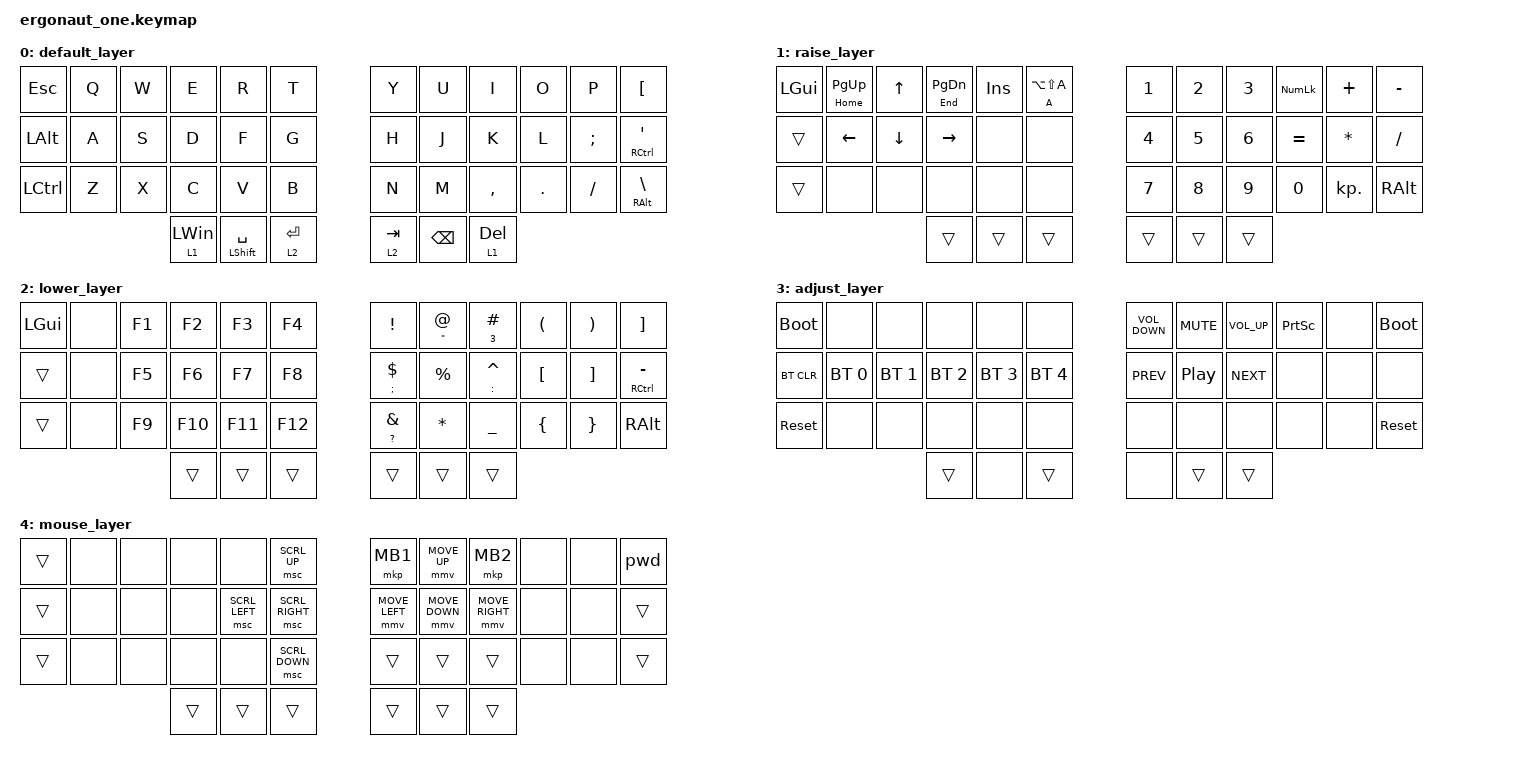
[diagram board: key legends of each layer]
//#include "mouse.dtsi"

#include <dt-bindings/zmk/mouse.h>
#include <behaviors.dtsi>
#include <dt-bindings/zmk/bt.h>
#include <dt-bindings/zmk/keys.h>

#define DEF 0
#define LWR 1
#define RSE 2
#define ADJ 3
#define ZMK_MOUSE_DEFAULT_MOVE_VAL 2000 // 600
#define ZMK_MOUSE_DEFAULT_SCRL_VAL 12   // 10

&lt { quick-tap-ms = <200>; };

&mt {
    quick-tap-ms = <200>;
    tapping-term-ms = <200>;
};

&mmv {
    acceleration-exponent = <1>;  // 1
    time-to-max-speed-ms = <750>; // 300
    delay-ms = <0>;
    trigger-period-ms = <8>;      // 16
};

&msc {
    acceleration-exponent = <1>;  // 0
    time-to-max-speed-ms = <40>;  // 300
    delay-ms = <0>;
    trigger-period-ms = <8>;      // 16
};

/ {
    conditional_layers {
        compatible = "zmk,conditional-layers";

        tri-layer {
            if-layers = <2 1>;
            then-layer = <3>;
        };
    };

    macros {
        pwd: pwd {
            compatible = "zmk,behavior-macro";
            #binding-cells = <0>;
            bindings = <&kp T &kp R &kp U &kp S &kp T &kp M &kp E &kp I &kp A &kp M &kp A &kp A &kp D &kp M &kp I &kp N &kp N4 &kp N2 &kp DOT>;
            label = "PWD";
        };
    };

    combos {
        compatible = "zmk,combos";

        mouse_combo {
            bindings = <&mo 4>;
            key-positions = <3 2 1>;
            timeout-ms = <501>;
        };
    };

    keymap {
        compatible = "zmk,keymap";

        default_layer {
            bindings = <
&kp ESCAPE  &kp Q  &kp W  &kp E           &kp R            &kp T      &kp Y      &kp U          &kp I      &kp O    &kp P     &kp LBKT
&kp LALT    &kp A  &kp S  &kp D           &kp F            &kp G      &kp H      &kp J          &kp K      &kp L    &kp SEMI  &mt RCTRL SQT
&kp LCTRL   &kp Z  &kp X  &kp C           &kp V            &kp B      &kp N      &kp M          &kp COMMA  &kp DOT  &kp FSLH  &mt RALT BSLH
                          &lt 1 LEFT_WIN  &mt LSHFT SPACE  &lt 2 RET  &lt 2 TAB  &kp BACKSPACE  &lt 1 DEL
            >;
        };

        raise_layer {
            bindings = <
&kp LGUI  &mt HOME PAGE_UP  &kp UP_ARROW    &mt END PAGE_DOWN  &kp INS  &mt A LA(LS(A))  &kp NUMBER_1  &kp NUMBER_2  &kp NUMBER_3  &kp KP_NUMLOCK  &kp PLUS      &kp MINUS
&trans    &kp LEFT          &kp DOWN_ARROW  &kp RIGHT          &none    &none            &kp NUMBER_4  &kp NUMBER_5  &kp NUMBER_6  &kp EQUAL       &kp ASTERISK  &kp SLASH
&trans    &none             &none           &none              &none    &none            &kp N7        &kp N8        &kp N9        &kp N0          &kp KP_DOT    &kp RALT
                                            &trans             &trans   &trans           &trans        &trans        &trans
            >;
        };

        lower_layer {
            bindings = <
&kp LGUI  &none  &kp F1  &kp F2   &kp F3   &kp F4   &kp EXCL           &mt DOUBLE_QUOTES AT  &mt NUMBER_3 HASH  &kp LEFT_PARENTHESIS  &kp RIGHT_PARENTHESIS  &kp RIGHT_BRACKET
&trans    &none  &kp F5  &kp F6   &kp F7   &kp F8   &mt SEMI DOLLAR    &kp PERCENT           &mt COLON CARET    &kp LEFT_BRACKET      &kp RIGHT_BRACKET      &mt RCTRL MINUS
&trans    &none  &kp F9  &kp F10  &kp F11  &kp F12  &mt QUESTION AMPS  &kp ASTRK             &kp UNDERSCORE     &kp LEFT_BRACE        &kp RIGHT_BRACE        &kp RALT
                         &trans   &trans   &trans   &trans             &trans                &trans
            >;
        };

        adjust_layer {
            bindings = <
&bootloader  &none         &none         &none         &none         &none         &kp C_VOLUME_DOWN  &kp K_MUTE        &kp C_VOLUME_UP  &kp PRINTSCREEN  &none  &bootloader
&bt BT_CLR   &bt BT_SEL 0  &bt BT_SEL 1  &bt BT_SEL 2  &bt BT_SEL 3  &bt BT_SEL 4  &kp C_PREV         &kp C_PLAY_PAUSE  &kp C_NEXT       &none            &none  &none
&sys_reset   &none         &none         &none         &none         &none         &none              &none             &none            &none            &none  &sys_reset
                                         &trans        &none         &trans        &none              &trans            &trans
            >;
        };

        mouse_layer {
            bindings = <
&trans  &none  &none  &none   &none           &msc SCRL_UP     &mkp MB1        &mmv MOVE_UP    &mkp MB2         &none  &none  &pwd
&trans  &none  &none  &none   &msc SCRL_LEFT  &msc SCRL_RIGHT  &mmv MOVE_LEFT  &mmv MOVE_DOWN  &mmv MOVE_RIGHT  &none  &none  &trans
&trans  &none  &none  &none   &none           &msc SCRL_DOWN   &trans          &trans          &trans           &none  &none  &trans
                      &trans  &trans          &trans           &trans          &trans          &trans
            >;
        };
    };
};
